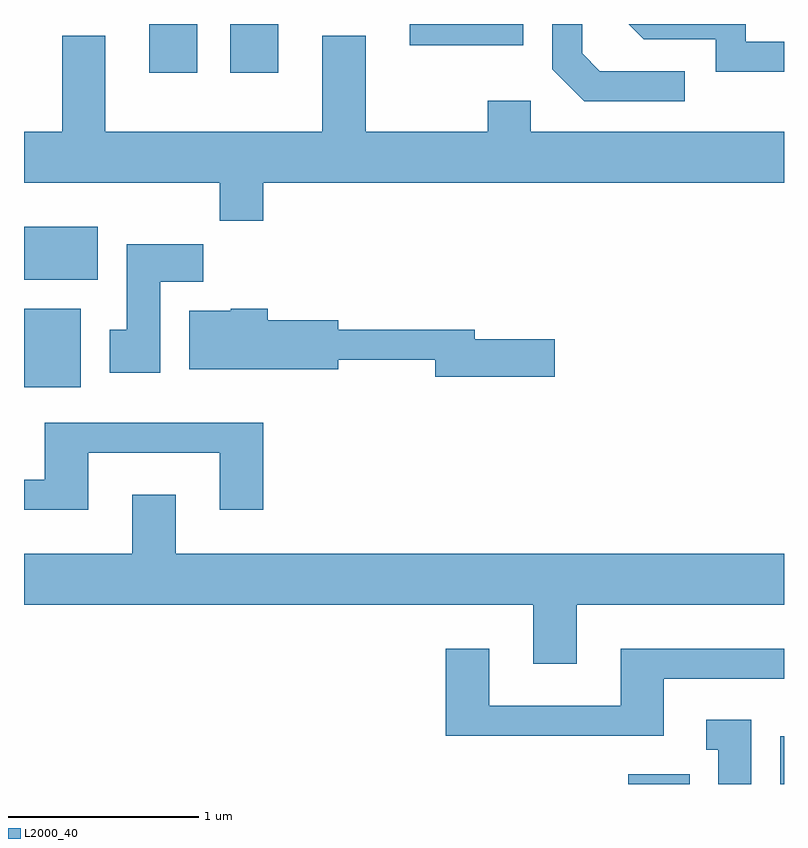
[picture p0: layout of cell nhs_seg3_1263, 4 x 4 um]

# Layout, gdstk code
import gdstk
lib = gdstk.Library(unit=1e-6, precision=1e-09)
def R(c, l, rs):  # rectangles x0, y0, x1, y1
    for r in rs: c.add(gdstk.rectangle(r[:2], r[2:], *l))
def P(c, l, *ps):  # polygons
    for p in ps: c.add(gdstk.Polygon(p, *l))
L2000_40 = (2000, 40)

nhs_seg3_1263 = lib.new_cell('nhs_seg3_1263')
R(nhs_seg3_1263, L2000_40, [(224.791,1193.892,225.114,1193.944), (225.591,1193.892,225.611,1194.144), (221.611,1195.981,221.909,1196.394), (221.611,1196.546,221.999,1196.824), (222.271,1197.636,222.524,1197.892), (222.696,1197.636,222.949,1197.892), (223.641,1197.781,224.239,1197.892)])
P(nhs_seg3_1263, L2000_40, [(225.088,1197.644),(224.642,1197.644),(224.549,1197.737),(224.549,1197.892),(224.391,1197.892),(224.391,1197.654),(224.559,1197.486),(225.088,1197.486)],
  [(225.611,1197.799),(225.409,1197.799),(225.409,1197.892),(224.793,1197.892),(224.874,1197.811),(225.251,1197.811),(225.251,1197.641),(225.611,1197.641)],
  [(222.869,1197.056),(225.611,1197.056),(225.611,1197.324),(224.279,1197.324),(224.279,1197.489),(224.051,1197.489),(224.051,1197.324),(223.409,1197.324),(223.409,1197.829),(223.181,1197.829),(223.181,1197.324),(222.039,1197.324),(222.039,1197.829),(221.811,1197.829),(221.811,1197.324),(221.611,1197.324),(221.611,1197.056),(222.641,1197.056),(222.641,1196.856),(222.869,1196.856)],
  [(222.329,1196.536),(222.554,1196.536),(222.554,1196.734),(222.151,1196.734),(222.151,1196.284),(222.061,1196.284),(222.061,1196.056),(222.329,1196.056)],
  [(224.404,1196.234),(223.984,1196.234),(223.984,1196.284),(223.264,1196.284),(223.264,1196.334),(222.894,1196.334),(222.894,1196.394),(222.7,1196.394),(222.7,1196.384),(222.481,1196.384),(222.481,1196.076),(223.264,1196.076),(223.264,1196.126),(223.776,1196.126),(223.776,1196.036),(224.404,1196.036)],
  [(221.949,1195.636),(222.641,1195.636),(222.641,1195.336),(222.869,1195.336),(222.869,1195.794),(221.721,1195.794),(221.721,1195.494),(221.611,1195.494),(221.611,1195.336),(221.949,1195.336)],
  [(224.519,1194.836),(225.611,1194.836),(225.611,1195.104),(222.409,1195.104),(222.409,1195.414),(222.181,1195.414),(222.181,1195.104),(221.611,1195.104),(221.611,1194.836),(224.291,1194.836),(224.291,1194.526),(224.519,1194.526)],
  [(224.979,1194.446),(225.611,1194.446),(225.611,1194.604),(224.751,1194.604),(224.751,1194.304),(224.059,1194.304),(224.059,1194.604),(223.831,1194.604),(223.831,1194.146),(224.979,1194.146)],
  [(225.439,1194.229),(225.203,1194.229),(225.203,1194.071),(225.266,1194.071),(225.266,1193.892),(225.439,1193.892)])

lib.write_gds('nhs_seg3_1263.gds')
